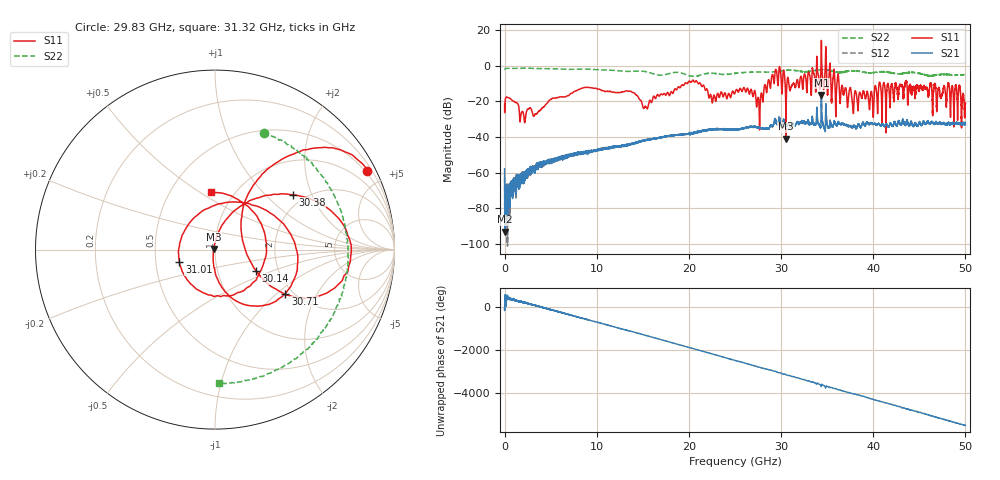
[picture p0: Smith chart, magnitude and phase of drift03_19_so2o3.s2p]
!Created with skrf (http://scikit-rf.org).
# Hz S RI R 50.0
!freq ReS11 ImS11 ReS21 ImS21 ReS12 ImS12 ReS22 ImS22
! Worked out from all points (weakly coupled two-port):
!   10001 points, 300 kHz to 50 GHz, reference 50 ohm
!   highest |S21| = -16.32 dB at 34.37 GHz (marker M1); lowest = -93.2 dB at 70.3 MHz (marker M2)
!   lowest |S11| = -41.0 dB at 30.53 GHz (marker M3), VSWR 1.02, Z = 49.2 + j0.36 ohm
!   |S11| at or under -10 dB: start of sweep to 19.56 GHz; 21.25 GHz to 28.55 GHz (7.297 GHz wide, 29.3 % of centre); 36.28 GHz to 40.63 GHz (4.343 GHz wide, 11.3 % of centre) (the widest 3 of 42)
!   |S22| runs from -5.9 to -1.3 dB; largest |S21 - S12| = 0.028
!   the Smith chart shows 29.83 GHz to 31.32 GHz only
!   S11 on the Smith chart (normalised r, x): 29.83 GHz: 0.44, +4.08; 30.14 GHz: 1.53, -0.39; 30.38 GHz: 1.73, +1.47; 30.71 GHz: 1.83, -1.14; 31.01 GHz: 0.66, -0.09; 31.32 GHz: 0.79, +0.56
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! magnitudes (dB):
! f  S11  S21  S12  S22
! 300 kHz  -21.5  -57.8  -63.0  -2.1
! 70.3 MHz  -19.3  -93.2  -69.8  -1.6
! 3.3 GHz  -27.2  -58.0  -56.7  -1.5
! 8.335 GHz  -12.7  -48.7  -49.2  -1.9
! 15.28 GHz  -22.8  -41.7  -41.9  -3.3
! 16.67 GHz  -16.6  -40.6  -40.5  -5.2
! 20.26 GHz  -9.2  -38.0  -38.0  -5.8
! 22.71 GHz  -16.4  -35.7  -35.7  -4.2
! 25 GHz  -15.3  -35.7  -35.6  -4.3
! 27.53 GHz  -17.9  -34.4  -34.5  -3.5
! 29.83 GHz  -0.4  -29.5  -28.4  -3.0
! 30.14 GHz  -11.8  -33.3  -33.4  -2.8
! 30.38 GHz  -5.5  -32.0  -32.5  -2.6
! 30.53 GHz  -41.0  -34.2  -34.0  -2.6
! 30.71 GHz  -6.7  -32.9  -32.9  -2.5
! 31.01 GHz  -13.5  -34.3  -34.3  -2.4
! 31.32 GHz  -9.9  -32.5  -32.4  -2.5
! 33.34 GHz  -7.5  -31.4  -31.3  -2.9
! 34.37 GHz  14.2  -16.3  -17.8  -2.3
! 37.84 GHz  -26.7  -33.8  -34.2  -2.8
! 41.67 GHz  -11.5  -34.4  -34.1  -3.7
! 50 GHz  -21.1  -32.5  -32.4  -5.0
